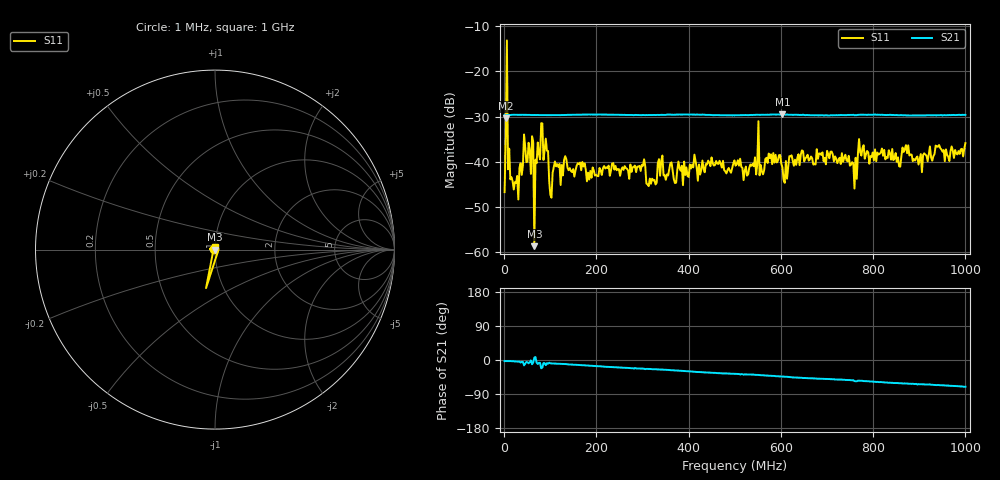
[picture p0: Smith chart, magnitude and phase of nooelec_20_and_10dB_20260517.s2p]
# HZ S RI R 50
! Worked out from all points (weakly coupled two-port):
!   404 points, 1 MHz to 1 GHz, reference 50 ohm
!   highest |S21| = -29.50 dB at 603.4 MHz (marker M1); lowest = -30.3 dB at 3.479 MHz (marker M2)
!   lowest |S11| = -58.6 dB at 65.45 MHz (marker M3), VSWR 1.00, Z = 50.1 - j0.0839 ohm
!   |S11| at or under -10 dB: start of sweep to end of sweep
!   S12 and S22 are empty: the file has one direction only
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1000000  -0.00459 0.000627  0.0328 -0.00165  0 0  0 0
3478908  0.0163 -0.0103  0.0303 -0.0015  0 0  0 0
8436724  -0.00816 0.00148  0.033 -0.00171  0 0  0 0
1.339454e7  -0.00628 0.00136  0.0329 -0.00166  0 0  0 0
2.578908e7  -0.00474 0.00343  0.0331 -0.00225  0 0  0 0
4.809925e7  -0.00861 0.005  0.033 -0.00309  0 0  0 0
5.801488e7  -0.00606 0.00423  0.033 -0.000676  0 0  0 0
6.545161e7  0.000821 -0.000837  0.0328 0.00363  0 0  0 0
8.528287e7  -0.00892 0.00562  0.0326 -0.00461  0 0  0 0
1.026352e8  -0.00403 0.000129  0.0325 -0.00521  0 0  0 0
1.125509e8  -0.00893 -0.000305  0.0326 -0.00554  0 0  0 0
1.695657e8  -0.00914 0.00405  0.0324 -0.00793  0 0  0 0
3.009479e8  -0.00735 0.00533  0.0305 -0.0128  0 0  0 0
3.133424e8  -0.00489 0.0023  0.0303 -0.0133  0 0  0 0
3.356526e8  -0.00863 0.00639  0.03 -0.0139  0 0  0 0
5.017394e8  -0.00506 0.00756  0.0264 -0.0195  0 0  0 0
6.033746e8  -0.00507 0.00705  0.0242 -0.0232  0 0  0 0
6.678263e8  -0.0047 0.0099  0.0218 -0.0245  0 0  0 0
7.595458e8  -0.00381 0.00337  0.0185 -0.0272  0 0  0 0
7.744193e8  -0.00195 0.0116  0.0192 -0.0272  0 0  0 0
8.339131e8  -0.00639 0.0118  0.0165 -0.0286  0 0  0 0
9.999999e8  -0.00104 0.0161  0.011 -0.0312  0 0  0 0
